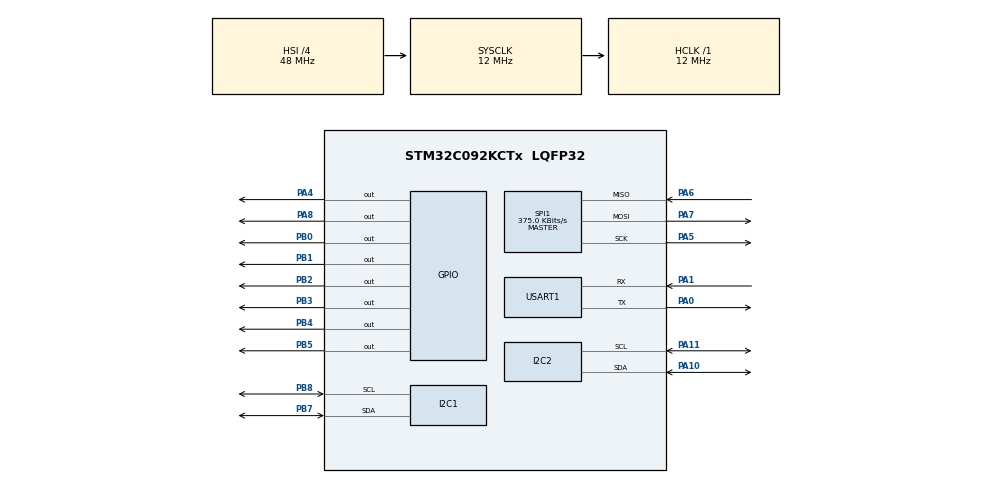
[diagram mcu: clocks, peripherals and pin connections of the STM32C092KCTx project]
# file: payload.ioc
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I2C1.Timing=0x00402D41
I2C2.Timing=0x00402D41
Mcu.Family=STM32C0
Mcu.Name=STM32C092KCTx
Mcu.Package=LQFP32
PA0.Mode=Asynchronous
PA0.Signal=USART1_TX
PA1.Mode=Asynchronous
PA1.Signal=USART1_RX
PA10.Mode=I2C
PA10.Signal=I2C2_SDA
PA11\ [PA9].Mode=I2C
PA11\ [PA9].Signal=I2C2_SCL
PA4.PinState=GPIO_PIN_SET
PA4.Signal=GPIO_Output
PA5.Mode=Full_Duplex_Master
PA5.Signal=SPI1_SCK
PA6.Mode=Full_Duplex_Master
PA6.Signal=SPI1_MISO
PA7.Mode=Full_Duplex_Master
PA7.Signal=SPI1_MOSI
PA8.PinState=GPIO_PIN_SET
PA8.Signal=GPIO_Output
PB0.Signal=GPIO_Output
PB1.Signal=GPIO_Output
PB2.Signal=GPIO_Output
PB3.PinState=GPIO_PIN_SET
PB3.Signal=GPIO_Output
PB4.PinState=GPIO_PIN_SET
PB4.Signal=GPIO_Output
PB5.Signal=GPIO_Output
PB7.Mode=I2C
PB7.Signal=I2C1_SDA
PB8.Mode=I2C
PB8.Signal=I2C1_SCL
ProjectManager.HeapSize=0x200
ProjectManager.StackSize=0x400
ProjectManager.TargetToolchain=STM32CubeIDE
RCC.ADCFreq_Value=12000000
RCC.AHBFreq_Value=12000000
RCC.CortexFreq_Value=12000000
RCC.EXTERNAL_CLOCK_VALUE=12288000
RCC.HCLKFreq_Value=12000000
RCC.HSE_VALUE=8000000
RCC.HSI_VALUE=48000000
RCC.LSE_VALUE=32768
RCC.SYSCLKFreq_VALUE=12000000
SPI1.BaudRatePrescaler=SPI_BAUDRATEPRESCALER_32
SPI1.CalculateBaudRate=375.0 KBits/s
SPI1.DataSize=SPI_DATASIZE_8BIT
SPI1.Direction=SPI_DIRECTION_2LINES
SPI1.Mode=SPI_MODE_MASTER
SPI1.NSSPMode=SPI_NSS_PULSE_DISABLE
SPI1.VirtualType=VM_MASTER
USART1.VirtualMode-Asynchronous=VM_ASYNC
board=custom

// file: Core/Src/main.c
/* USER CODE BEGIN Header */
/**
  ******************************************************************************
  * @file           : main.c
  * @brief          : Main program body
  ******************************************************************************
  * @attention
  *
  * Copyright (c) 2026 STMicroelectronics.
  * All rights reserved.
  *
  * This software is licensed under terms that can be found in the LICENSE file
  * in the root directory of this software component.
  * If no LICENSE file comes with this software, it is provided AS-IS.
  *
  ******************************************************************************
  */
/* USER CODE END Header */
#include "main.h"

/* USER CODE BEGIN Includes */
#include "flash/flash_helpers.h"
#include "flash/flash_dump.h"
#include <string.h>

/* USER CODE END Includes */

/* USER CODE BEGIN PTD */
typedef struct {
  I2C_HandleTypeDef *hi2c;
  uint16_t C[8];          // kalibratiecoëfficiënten C0..C6 (C7 = 0, voor de CRC)
  uint8_t  crc_ok;
  uint8_t  ver;           // versiecode uit C0
  uint8_t  is_02ba;       // 1 = 02BA, 0 = 30BA
  HAL_StatusTypeDef st;
  int32_t  temp;          // 0,01 °C
  int32_t  pres;          // Pa
} MS5837_t;
/* USER CODE END PTD */

/* USER CODE BEGIN PD */
#define LAUNCH_THR      2943   // drempel in 0,01 m/s² (3 g = 3 × 981)
#define LAUNCH_MS  100    // zo lang moet de versnelling boven de drempel blijven (ms)
#define MS5837_ADDR  (0x76 << 1)
#define FLASH_CS_LOW()   HAL_GPIO_WritePin(GPIOA, GPIO_PIN_4, GPIO_PIN_RESET)
#define FLASH_CS_HIGH()  HAL_GPIO_WritePin(GPIOA, GPIO_PIN_4, GPIO_PIN_SET)
#define RUN_FLASH_READBACK_TEST  1   // readout tester bij het opstarten (raakt de vluchtdata niet)
#define ERASE_FLASH_ON_BOOT      0   // 1 = wist de VOLLEDIGE flash bij elke start (80-400 s). Alleen eenmalig vóór de vlucht!

// WERKING: vanaf het inschakelen camera aan + elke 50 ms loggen naar de flash
// (+ live naar de XIAO voor de SD-kaart). De lanceerdetectie zet ENKEL LED2 aan
// en onthoudt launch_time; ze start of stopt niets.
#define CAM_START_DELAY_MS       5000UL  // eerst de XIAO laten opstarten (camera + SD) voor START
#define CAM_RETRY_MS            10000UL  // START opnieuw proberen zolang de camera niet bevestigde (vóór de lancering)
#define LIVE_TO_XIAO                1    // 1 = elke meting ook live via UART naar de XIAO (CSV op de SD)

// HERSTELMODUS na de vlucht: 1 = bij het opstarten de volledige flash naar de XIAO sturen
// (zelfde dump als vroeger), daarna niets meer doen. Niet loggen, geen camera.
// LED2 aan = dump gelukt, LED2 snel knipperend = dump mislukt.  !! op 0 voor de vlucht !!
#define DUMP_ON_BOOT                0
/* USER CODE END PD */

I2C_HandleTypeDef hi2c1;
I2C_HandleTypeDef hi2c2;

SPI_HandleTypeDef hspi1;

UART_HandleTypeDef huart1;

/* USER CODE BEGIN PV */
volatile uint8_t bno_id = 0;
volatile HAL_StatusTypeDef st_id;
volatile uint8_t acc_cfg = 0;
volatile int16_t acc_x, acc_y, acc_z;   // eenheid: 0,01 m/s²
volatile HAL_StatusTypeDef st_acc;
uint8_t rx_buf[8];
volatile HAL_StatusTypeDef st_tx, st_rx;
volatile uint8_t launched = 0;
volatile uint8_t high_count = 0;
volatile uint8_t ack_ok = 0;
MS5837_t ps1 = { .hi2c = &hi2c1 };   // tanksensor op bus 1
MS5837_t ps2 = { .hi2c = &hi2c2 };   // tanksensor op bus 2
uint32_t t_acc = 0, t_pres = 0, above_since = 0;
// Diagnose LED1: welke sensorcontrole faalt (bitmasker, zie leds_update)
volatile uint8_t sens_fault = 0, sens_fault_seen = 0;
uint32_t t_retry = 0;
// Busherstel: aantal mislukte transfers na elkaar (zie 2c in de hoofdlus)
uint8_t i2c1_fail = 0, ps2_fail = 0;
volatile uint16_t i2c1_recoveries = 0, i2c2_recoveries = 0;
uint8_t flash_id[3];
volatile HAL_StatusTypeDef st_flash;
const CS_Pin_t flash_cs = { GPIOA, GPIO_PIN_4 };   // W25Q256JV /CS op PA4
volatile HAL_StatusTypeDef st_log_init, st_log;
volatile uint8_t flash_test_ok = 0;
volatile HAL_StatusTypeDef st_dump = HAL_BUSY;   // alleen in herstelmodus (DUMP_ON_BOOT)
volatile uint32_t dump_records = 0;
volatile uint32_t launch_time = 0;                // ms sinds opstarten, 0 = geen lancering gezien
volatile uint8_t  cam_attempts = 0;               // aantal START-pogingen
uint32_t t_cam = 0;
volatile HAL_StatusTypeDef st_live = HAL_OK;      // laatste live-zending naar de XIAO
/* USER CODE END PV */

void SystemClock_Config(void);
static void MX_GPIO_Init(void);
static void MX_I2C1_Init(void);
static void MX_USART1_UART_Init(void);
static void MX_I2C2_Init(void);
static void MX_SPI1_Init(void);

/* USER CODE BEGIN 0 */
static uint8_t ms5837_crc4(const uint16_t *prom)
{
  uint16_t n[8];
  for (int i = 0; i < 8; i++) n[i] = prom[i];
  n[0] &= 0x0FFF;
  n[7] = 0;
  uint16_t rem = 0;
  for (int i = 0; i < 16; i++) {
    if (i % 2) rem ^= (n[i >> 1] & 0x00FF);
    else       rem ^= (n[i >> 1] >> 8);
    for (int b = 8; b > 0; b--) {
      if (rem & 0x8000) rem = (rem << 1) ^ 0x3000;
      else              rem = (rem << 1);
    }
  }
  return (rem >> 12) & 0x000F;
}

static HAL_StatusTypeDef ms5837_cmd(MS5837_t *s, uint8_t cmd)
{
  return HAL_I2C_Master_Transmit(s->hi2c, MS5837_ADDR, &cmd, 1, 100);
}

static void ms5837_init(MS5837_t *s)
{
  s->st = ms5837_cmd(s, 0x1E);          // reset
  HAL_Delay(10);
  for (int i = 0; i < 7 && s->st == HAL_OK; i++) {
    uint8_t buf[2] = {0};
    s->st = ms5837_cmd(s, 0xA0 + 2 * i);  // PROM-woord i
    if (s->st == HAL_OK)
      s->st = HAL_I2C_Master_Receive(s->hi2c, MS5837_ADDR, buf, 2, 100);
    s->C[i] = (buf[0] << 8) | buf[1];
  }
  s->C[7] = 0;
  s->crc_ok = (s->st == HAL_OK) && ((s->C[0] >> 12) == ms5837_crc4(s->C));
  s->ver = (s->C[0] >> 5) & 0x7F;
  s->is_02ba = 0;   // versiecode = 0, maar metingen tonen 30BA-gedrag
}
static HAL_StatusTypeDef ms5837_read_adc(MS5837_t *s, uint8_t conv_cmd, uint32_t *out)
{
  HAL_StatusTypeDef st = ms5837_cmd(s, conv_cmd);   // conversie starten
  if (st != HAL_OK) return st;
  HAL_Delay(3);                                     // OSR 1024: max 2,28 ms
  st = ms5837_cmd(s, 0x00);                         // ADC uitlezen
  if (st != HAL_OK) return st;
  uint8_t b[3] = {0};
  st = HAL_I2C_Master_Receive(s->hi2c, MS5837_ADDR, b, 3, 100);
  *out = ((uint32_t)b[0] << 16) | ((uint32_t)b[1] << 8) | b[2];
  return st;
}

static void ms5837_measure(MS5837_t *s)
{
  uint32_t D1 = 0, D2 = 0;
  s->st = ms5837_read_adc(s, 0x44, &D1);                       // druk, OSR 1024
  if (s->st == HAL_OK) s->st = ms5837_read_adc(s, 0x54, &D2);  // temperatuur, OSR 1024
  if (s->st != HAL_OK) return;

  int32_t dT   = (int32_t)D2 - ((int32_t)s->C[5] << 8);
  int32_t TEMP = 2000 + (int32_t)(((int64_t)dT * s->C[6]) >> 23);
  int64_t OFF, SENS, Ti = 0, OFFi = 0, SENSi = 0;
  int64_t t = TEMP - 2000;

  if (s->is_02ba) {
    OFF  = ((int64_t)s->C[2] << 17) + (((int64_t)s->C[4] * dT) >> 6);
    SENS = ((int64_t)s->C[1] << 16) + (((int64_t)s->C[3] * dT) >> 7);
    if (TEMP < 2000) {
      Ti    = (11LL * dT * dT) >> 35;
      OFFi  = (31 * t * t) >> 3;
      SENSi = (63 * t * t) >> 5;
    }
  } else {
    OFF  = ((int64_t)s->C[2] << 16) + (((int64_t)s->C[4] * dT) >> 7);
    SENS = ((int64_t)s->C[1] << 15) + (((int64_t)s->C[3] * dT) >> 8);
    if (TEMP < 2000) {
      Ti    = (3LL * dT * dT) >> 33;
      OFFi  = (3 * t * t) >> 1;
      SENSi = (5 * t * t) >> 3;
      if (TEMP < -1500) {
        int64_t u = TEMP + 1500;
        OFFi  += 7 * u * u;
        SENSi += 4 * u * u;
      }
    } else {
      Ti    = (2LL * dT * dT) >> 37;
      OFFi  = (t * t) >> 4;
    }
  }

  OFF  -= OFFi;
  SENS -= SENSi;
  s->temp = TEMP - (int32_t)Ti;                                    // 0,01 °C

  int64_t P = ((((int64_t)D1 * SENS) >> 21) - OFF);
  if (s->is_02ba) s->pres = (int32_t)(P >> 15);                    // Pa
  else            s->pres = (int32_t)(P >> 13) * 10;               // 0,1 mbar → Pa
}
// BNO055: chip-ID controleren en instellen op 16 g, ACCONLY-modus.
// Wordt bij het opstarten aangeroepen en opnieuw (vóór de lancering) als het mislukte.
// Vastgelopen I2C-bus vrijmaken: I2C uit, 9 klokpulsen op SCL (een slave die SDA vasthoudt
// laat dan los), een STOP-conditie, en daarna de I2C-module opnieuw initialiseren.
static void i2c_delay(void)
{
  for (volatile int d = 0; d < 20; d++) { }
}

static void i2c_bus_recover(I2C_HandleTypeDef *hi2c,
                            GPIO_TypeDef *sda_port, uint16_t sda_pin,
                            GPIO_TypeDef *scl_port, uint16_t scl_pin)
{
  HAL_I2C_DeInit(hi2c);                          // pinnen terug naar GPIO

  GPIO_InitTypeDef g = {0};
  g.Mode  = GPIO_MODE_OUTPUT_OD;
  g.Pull  = GPIO_NOPULL;
  g.Speed = GPIO_SPEED_FREQ_LOW;
  HAL_GPIO_WritePin(sda_port, sda_pin, GPIO_PIN_SET);
  HAL_GPIO_WritePin(scl_port, scl_pin, GPIO_PIN_SET);
  g.Pin = sda_pin; HAL_GPIO_Init(sda_port, &g);
  g.Pin = scl_pin; HAL_GPIO_Init(scl_port, &g);
  i2c_delay();

  for (int i = 0; i < 9; i++) {
    HAL_GPIO_WritePin(scl_port, scl_pin, GPIO_PIN_RESET); i2c_delay();
    HAL_GPIO_WritePin(scl_port, scl_pin, GPIO_PIN_SET);   i2c_delay();
  }
  // STOP: SDA laag -> hoog terwijl SCL hoog is
  HAL_GPIO_WritePin(sda_port, sda_pin, GPIO_PIN_RESET); i2c_delay();
  HAL_GPIO_WritePin(scl_port, scl_pin, GPIO_PIN_SET);   i2c_delay();
  HAL_GPIO_WritePin(sda_port, sda_pin, GPIO_PIN_SET);   i2c_delay();

  if (hi2c->Instance == I2C1) MX_I2C1_Init();    // zet de pinnen terug als I2C
  else                        MX_I2C2_Init();
}

static void bno055_init(void)
{
  // Chip-ID controleren (moet 0xA0 zijn)
  uint8_t id = 0;
  for (int i = 0; i < 5; i++) {
      st_id = HAL_I2C_Mem_Read(&hi2c1, 0x28 << 1, 0x00, I2C_MEMADD_SIZE_8BIT, &id, 1, 100);
      if (st_id == HAL_OK) break;
      HAL_Delay(10);
  }
  bno_id = id;
  if (id != 0xA0) return;   // niet gevonden: later opnieuw proberen

  // Versnellingsmeter instellen: 16 g, ACCONLY-modus
  uint8_t v;
  v = 0x00; HAL_I2C_Mem_Write(&hi2c1, 0x28 << 1, 0x3D, I2C_MEMADD_SIZE_8BIT, &v, 1, 100);  // CONFIG-modus
  HAL_Delay(25);
  v = 0x01; HAL_I2C_Mem_Write(&hi2c1, 0x28 << 1, 0x07, I2C_MEMADD_SIZE_8BIT, &v, 1, 100);  // page 1
  v = 0x0F; HAL_I2C_Mem_Write(&hi2c1, 0x28 << 1, 0x08, I2C_MEMADD_SIZE_8BIT, &v, 1, 100);  // 16 g, 62,5 Hz
  HAL_I2C_Mem_Read(&hi2c1, 0x28 << 1, 0x08, I2C_MEMADD_SIZE_8BIT, &v, 1, 100);             // terug lezen
  acc_cfg = v;
  v = 0x00; HAL_I2C_Mem_Write(&hi2c1, 0x28 << 1, 0x07, I2C_MEMADD_SIZE_8BIT, &v, 1, 100);  // page 0
  v = 0x01; HAL_I2C_Mem_Write(&hi2c1, 0x28 << 1, 0x3D, I2C_MEMADD_SIZE_8BIT, &v, 1, 100);  // ACCONLY
  HAL_Delay(20);
}

static void led_set(uint16_t pin, int on)
{
  HAL_GPIO_WritePin(GPIOB, pin, on ? GPIO_PIN_SET : GPIO_PIN_RESET);
}

static void leds_update(uint32_t now)
{
  // LED0: hartslag
  led_set(GPIO_PIN_0, (now / 500) % 2);

  // LED1: sensoren in orde -> aan, anders snel knipperen
  // sens_fault toont welke controle faalt; sens_fault_seen onthoudt ook korte fouten
  uint8_t f = 0;
  if (bno_id != 0xA0)    f |= 0x01;   // BNO055 niet herkend (chip-ID)
  if (st_acc != HAL_OK)  f |= 0x02;   // versnelling lezen faalt
  if (!ps1.crc_ok)       f |= 0x04;   // MS5837 bus 1: kalibratie (PROM/CRC) mislukt
  if (!ps2.crc_ok)       f |= 0x08;   // MS5837 bus 2: kalibratie (PROM/CRC) mislukt
  if (ps1.st != HAL_OK)  f |= 0x10;   // MS5837 bus 1: meting faalt
  if (ps2.st != HAL_OK)  f |= 0x20;   // MS5837 bus 2: meting faalt
  sens_fault = f;
  sens_fault_seen |= f;
  led_set(GPIO_PIN_1, f == 0 ? 1 : (now / 100) % 2);

  // LED2: aan = lancering gedetecteerd.
  //       Vóór de lancering snel knipperen = camera heeft START (nog) niet bevestigd.
  if (launched)                         led_set(GPIO_PIN_2, 1);
  else if (cam_attempts > 0 && !ack_ok) led_set(GPIO_PIN_2, (now / 100) % 2);
  else                                  led_set(GPIO_PIN_2, 0);
}
// Wacht op een tekstregel van de XIAO die 'needle' bevat (bv. "OK START")
static uint8_t uart_wait_line(const char *needle, uint32_t timeout_ms)
{
  char line[24];
  uint8_t n = 0;
  uint32_t t0 = HAL_GetTick();
  while (HAL_GetTick() - t0 < timeout_ms) {
    uint8_t c;
    if (HAL_UART_Receive(&huart1, &c, 1, 5) != HAL_OK) continue;
    if (c == '\r') continue;
    if (c == '\n') {
      line[n] = '\0';
      if (strstr(line, needle)) return 1;
      n = 0;
    } else if (n < sizeof(line) - 1) {
      line[n++] = (char)c;
    }
  }
  return 0;
}

// Camera starten: START sturen en wachten op "OK START" (max. tries x ~400 ms)
static void camera_start(int tries)
{
  const char msg[] = "START\n";
  for (int i = 0; i < tries && !ack_ok; i++) {
    __HAL_UART_CLEAR_FLAG(&huart1, UART_CLEAR_OREF | UART_CLEAR_NEF | UART_CLEAR_FEF);
    __HAL_UART_SEND_REQ(&huart1, UART_RXDATA_FLUSH_REQUEST);   // oude "READY" e.d. weggooien
    HAL_UART_Transmit(&huart1, (uint8_t *)msg, sizeof(msg) - 1, 100);
    if (uart_wait_line("OK START", 300)) ack_ok = 1;
  }
}
static HAL_StatusTypeDef flash_read_id(uint8_t *id)
{
  uint8_t cmd = 0x9F;                       // JEDEC ID
  FLASH_CS_LOW();
  HAL_StatusTypeDef st = HAL_SPI_Transmit(&hspi1, &cmd, 1, 100);
  if (st == HAL_OK) st = HAL_SPI_Receive(&hspi1, id, 3, 100);
  FLASH_CS_HIGH();
  return st;
}
/* USER CODE END 0 */

int main(void)
{

  /* MCU Configuration--------------------------------------------------------*/

  /* Reset of all peripherals, Initializes the Flash interface and the Systick. */
  HAL_Init();

  /* Configure the system clock */
  SystemClock_Config();

  /* Initialize all configured peripherals */
  MX_GPIO_Init();
  MX_I2C1_Init();
  MX_USART1_UART_Init();
  MX_I2C2_Init();
  MX_SPI1_Init();
  /* USER CODE BEGIN 2 */
  // Opstartanimatie (~0,7 s) + wachttijd: samen ruim de 650 ms die de BNO055 nodig heeft
  for (int r = 0; r < 3; r++) {
    for (int i = 0; i < 3; i++) {
      led_set(GPIO_PIN_0 << i, 1);
      HAL_Delay(80);
      led_set(GPIO_PIN_0 << i, 0);
    }
  }
  HAL_Delay(300);

  bno055_init();   // chip-ID + 16 g ACCONLY (zie USER CODE 0)

  ms5837_init(&ps1);
  ms5837_init(&ps2);
  HAL_GPIO_WritePin(GPIOA, GPIO_PIN_8, GPIO_PIN_SET);   // /RESET van de flash hoog
  HAL_Delay(1);
  st_flash = flash_read_id(flash_id);

#if ERASE_FLASH_ON_BOOT
  st_flash = W25Q_ChipErase(&flash_cs);        // blokkeert tot de chip leeg is
#endif
#if RUN_FLASH_READBACK_TEST
  flash_test_ok = FlashLogger_TestReadBack(&flash_cs);
#endif
  st_log_init = FlashLogger_Init(&flash_cs);   // gaat verder na de laatst beschreven pagina

#if DUMP_ON_BOOT
  // Herstelmodus: volledige flash naar de XIAO (CSV op de SD), daarna stoppen.
  HAL_Delay(CAM_START_DELAY_MS);               // XIAO laten opstarten
  {
    uint32_t n = 0;
    for (int i = 0; i < 3 && st_dump != HAL_OK; i++)
      st_dump = FlashDump_SendAll(&huart1, &flash_cs, &n);
    dump_records = n;
  }
  while (1) {
    uint32_t t = HAL_GetTick();
    led_set(GPIO_PIN_0, (t / 500) % 2);
    led_set(GPIO_PIN_1, 0);
    led_set(GPIO_PIN_2, st_dump == HAL_OK ? 1 : (t / 100) % 2);
  }
#endif
  /* USER CODE END 2 */

  /* Infinite loop */
  while (1)
  {

    /* USER CODE BEGIN 3 */
	    uint32_t now = HAL_GetTick();

	    // 1. Versnelling en lanceerdetectie, elke 10 ms
	    if (now - t_acc >= 10) {
	      t_acc = now;
	      uint8_t a[6];
	      st_acc = HAL_I2C_Mem_Read(&hi2c1, 0x28 << 1, 0x08, I2C_MEMADD_SIZE_8BIT, a, 6, 100);
	      if (st_acc == HAL_OK) i2c1_fail = 0;
	      else if (i2c1_fail < 255) i2c1_fail++;
	      if (st_acc == HAL_OK) {
	        acc_x = (int16_t)((a[1] << 8) | a[0]);
	        acc_y = (int16_t)((a[3] << 8) | a[2]);
	        acc_z = (int16_t)((a[5] << 8) | a[4]);

	        uint32_t mag2 = (uint32_t)((int32_t)acc_x * acc_x)
	                      + (uint32_t)((int32_t)acc_y * acc_y)
	                      + (uint32_t)((int32_t)acc_z * acc_z);

	        // Lanceerdetectie: |a| > 3 g gedurende 100 ms -> enkel LED2 + launch_time
	        if (!launched) {
	          uint32_t thr2 = (uint32_t)LAUNCH_THR * LAUNCH_THR;

	          if (mag2 > thr2) {
	            if (above_since == 0) above_since = now;
	            if (now - above_since >= LAUNCH_MS) {
	              launched = 1;
	              launch_time = now;
	            }
	          } else {
	            above_since = 0;
	          }
	        }
	      }
	    }

	    // 1b. Camera starten vanaf het inschakelen (los van de lanceerdetectie).
	    //     Eerste keer tot 10 pogingen (max. ~4 s, op het platform).
	    //     Daarna 1 poging per CAM_RETRY_MS, maar niet meer na een lancering
	    //     (blokkeert ~0,4 s en zou dan vluchtdata kosten).
	    if (!ack_ok && now >= CAM_START_DELAY_MS) {
	      if (cam_attempts == 0) {
	        camera_start(10);
	        cam_attempts = 1;
	        t_cam = HAL_GetTick();
	      } else if (!launched && now - t_cam >= CAM_RETRY_MS && cam_attempts < 255) {
	        camera_start(1);
	        cam_attempts++;
	        t_cam = HAL_GetTick();
	      }
	    }

	    // 2. Druk, elke 50 ms. Vanaf het inschakelen naar de flash (+ live naar de XIAO)
	    if (now - t_pres >= 50) {
	      t_pres = now;
	      ms5837_measure(&ps1);
	      ms5837_measure(&ps2);
	      if (ps2.st == HAL_OK) ps2_fail = 0;
	      else if (ps2_fail < 255) ps2_fail++;

	      // 2b. Eén record per druksensor
	      Flash_Payload rec1 = { .acc_x = acc_x, .acc_y = acc_y, .acc_z = acc_z };
	      Flash_Payload rec2 = rec1;
	      rec1.temp = ps1.temp; rec1.pres = ps1.pres;
	      rec2.temp = ps2.temp; rec2.pres = ps2.pres;
	      st_log = FlashLogger_LogPayload(&rec1, 1, now);
	      st_log = FlashLogger_LogPayload(&rec2, 2, now);
	      if (LIVE_TO_XIAO)
	        st_live = FlashDump_SendLive(&huart1, &rec1, &rec2, now);
	    }

	    // 2c. Herstel, max. 1x per seconde:
	    //     - bus vastgelopen (5x na elkaar BNO055 niet gelezen = 50 ms, of 3x MS5837 bus 2)
	    //       -> bus vrijmaken + sensoren op die bus opnieuw initialiseren
	    //     - losse sensor die niet antwoordt -> alleen die sensor opnieuw initialiseren
	    if (now - t_retry >= 1000) {
	      t_retry = now;
	      if (i2c1_fail >= 5) {
	        i2c_bus_recover(&hi2c1, GPIOB, GPIO_PIN_7, GPIOB, GPIO_PIN_8);    // SDA PB7, SCL PB8
	        i2c1_recoveries++;
	        bno055_init();
	        ms5837_init(&ps1);
	        i2c1_fail = 0;
	      } else {
	        if (bno_id != 0xA0)                   bno055_init();
	        if (!ps1.crc_ok || ps1.st != HAL_OK)  ms5837_init(&ps1);
	      }
	      if (ps2_fail >= 3) {
	        i2c_bus_recover(&hi2c2, GPIOA, GPIO_PIN_10, GPIOA, GPIO_PIN_11);  // SDA PA10, SCL PA11
	        i2c2_recoveries++;
	        ms5837_init(&ps2);
	        ps2_fail = 0;
	      } else if (!ps2.crc_ok) {
	        ms5837_init(&ps2);
	      }
	    }

	    // 3. LED's bijwerken
	    leds_update(now);
	  }
  /* USER CODE END 3 */
}

void SystemClock_Config(void)
{
  RCC_OscInitTypeDef RCC_OscInitStruct = {0};
  RCC_ClkInitTypeDef RCC_ClkInitStruct = {0};

  __HAL_FLASH_SET_LATENCY(FLASH_LATENCY_0);

  /** Initializes the RCC Oscillators according to the specified parameters
  * in the RCC_OscInitTypeDef structure.
  */
  RCC_OscInitStruct.OscillatorType = RCC_OSCILLATORTYPE_HSI;
  RCC_OscInitStruct.HSIState = RCC_HSI_ON;
  RCC_OscInitStruct.HSIDiv = RCC_HSI_DIV4;
  RCC_OscInitStruct.HSICalibrationValue = RCC_HSICALIBRATION_DEFAULT;
  if (HAL_RCC_OscConfig(&RCC_OscInitStruct) != HAL_OK)
  {
    Error_Handler();
  }

  /** Initializes the CPU, AHB and APB buses clocks
  */
  RCC_ClkInitStruct.ClockType = RCC_CLOCKTYPE_HCLK|RCC_CLOCKTYPE_SYSCLK
                              |RCC_CLOCKTYPE_PCLK1;
  RCC_ClkInitStruct.SYSCLKSource = RCC_SYSCLKSOURCE_HSI;
  RCC_ClkInitStruct.SYSCLKDivider = RCC_SYSCLK_DIV1;
  RCC_ClkInitStruct.AHBCLKDivider = RCC_HCLK_DIV1;
  RCC_ClkInitStruct.APB1CLKDivider = RCC_APB1_DIV1;

  if (HAL_RCC_ClockConfig(&RCC_ClkInitStruct, FLASH_LATENCY_0) != HAL_OK)
  {
    Error_Handler();
  }
}

static void MX_I2C1_Init(void)
{

  hi2c1.Instance = I2C1;
  hi2c1.Init.Timing = 0x00402D41;
  hi2c1.Init.OwnAddress1 = 0;
  hi2c1.Init.AddressingMode = I2C_ADDRESSINGMODE_7BIT;
  hi2c1.Init.DualAddressMode = I2C_DUALADDRESS_DISABLE;
  hi2c1.Init.OwnAddress2 = 0;
  hi2c1.Init.OwnAddress2Masks = I2C_OA2_NOMASK;
  hi2c1.Init.GeneralCallMode = I2C_GENERALCALL_DISABLE;
  hi2c1.Init.NoStretchMode = I2C_NOSTRETCH_DISABLE;
  if (HAL_I2C_Init(&hi2c1) != HAL_OK)
  {
    Error_Handler();
  }

  /** Configure Analogue filter
  */
  if (HAL_I2CEx_ConfigAnalogFilter(&hi2c1, I2C_ANALOGFILTER_ENABLE) != HAL_OK)
  {
    Error_Handler();
  }

  /** Configure Digital filter
  */
  if (HAL_I2CEx_ConfigDigitalFilter(&hi2c1, 0) != HAL_OK)
  {
    Error_Handler();
  }

}

static void MX_I2C2_Init(void)
{

  hi2c2.Instance = I2C2;
  hi2c2.Init.Timing = 0x00402D41;
  hi2c2.Init.OwnAddress1 = 0;
  hi2c2.Init.AddressingMode = I2C_ADDRESSINGMODE_7BIT;
  hi2c2.Init.DualAddressMode = I2C_DUALADDRESS_DISABLE;
  hi2c2.Init.OwnAddress2 = 0;
  hi2c2.Init.OwnAddress2Masks = I2C_OA2_NOMASK;
  hi2c2.Init.GeneralCallMode = I2C_GENERALCALL_DISABLE;
  hi2c2.Init.NoStretchMode = I2C_NOSTRETCH_DISABLE;
  if (HAL_I2C_Init(&hi2c2) != HAL_OK)
  {
    Error_Handler();
  }

  /** Configure Analogue filter
  */
  if (HAL_I2CEx_ConfigAnalogFilter(&hi2c2, I2C_ANALOGFILTER_ENABLE) != HAL_OK)
  {
    Error_Handler();
  }

  /** Configure Digital filter
  */
  if (HAL_I2CEx_ConfigDigitalFilter(&hi2c2, 0) != HAL_OK)
  {
    Error_Handler();
  }

}

static void MX_SPI1_Init(void)
{

  /* SPI1 parameter configuration*/
  hspi1.Instance = SPI1;
  hspi1.Init.Mode = SPI_MODE_MASTER;
  hspi1.Init.Direction = SPI_DIRECTION_2LINES;
  hspi1.Init.DataSize = SPI_DATASIZE_8BIT;
  hspi1.Init.CLKPolarity = SPI_POLARITY_LOW;
  hspi1.Init.CLKPhase = SPI_PHASE_1EDGE;
  hspi1.Init.NSS = SPI_NSS_SOFT;
  hspi1.Init.BaudRatePrescaler = SPI_BAUDRATEPRESCALER_32;
  hspi1.Init.FirstBit = SPI_FIRSTBIT_MSB;
  hspi1.Init.TIMode = SPI_TIMODE_DISABLE;
  hspi1.Init.CRCCalculation = SPI_CRCCALCULATION_DISABLE;
  hspi1.Init.CRCPolynomial = 7;
  hspi1.Init.CRCLength = SPI_CRC_LENGTH_DATASIZE;
  hspi1.Init.NSSPMode = SPI_NSS_PULSE_DISABLE;
  if (HAL_SPI_Init(&hspi1) != HAL_OK)
  {
    Error_Handler();
  }

}

static void MX_USART1_UART_Init(void)
{

  huart1.Instance = USART1;
  huart1.Init.BaudRate = 115200;
  huart1.Init.WordLength = UART_WORDLENGTH_8B;
  huart1.Init.StopBits = UART_STOPBITS_1;
  huart1.Init.Parity = UART_PARITY_NONE;
  huart1.Init.Mode = UART_MODE_TX_RX;
  huart1.Init.HwFlowCtl = UART_HWCONTROL_NONE;
  huart1.Init.OverSampling = UART_OVERSAMPLING_16;
  huart1.Init.OneBitSampling = UART_ONE_BIT_SAMPLE_DISABLE;
  huart1.Init.ClockPrescaler = UART_PRESCALER_DIV1;
  huart1.AdvancedInit.AdvFeatureInit = UART_ADVFEATURE_NO_INIT;
  if (HAL_UART_Init(&huart1) != HAL_OK)
  {
    Error_Handler();
  }
  if (HAL_UARTEx_SetTxFifoThreshold(&huart1, UART_TXFIFO_THRESHOLD_1_8) != HAL_OK)
  {
    Error_Handler();
  }
  if (HAL_UARTEx_SetRxFifoThreshold(&huart1, UART_RXFIFO_THRESHOLD_1_8) != HAL_OK)
  {
    Error_Handler();
  }
  if (HAL_UARTEx_DisableFifoMode(&huart1) != HAL_OK)
  {
    Error_Handler();
  }

}

static void MX_GPIO_Init(void)
{
  GPIO_InitTypeDef GPIO_InitStruct = {0};

  /* GPIO Ports Clock Enable */
  __HAL_RCC_GPIOA_CLK_ENABLE();
  __HAL_RCC_GPIOB_CLK_ENABLE();

  /*Configure GPIO pin Output Level */
  HAL_GPIO_WritePin(GPIOA, GPIO_PIN_4|GPIO_PIN_8, GPIO_PIN_SET);

  /*Configure GPIO pin Output Level */
  HAL_GPIO_WritePin(GPIOB, GPIO_PIN_0|GPIO_PIN_1|GPIO_PIN_2|GPIO_PIN_5, GPIO_PIN_RESET);

  /*Configure GPIO pin Output Level */
  HAL_GPIO_WritePin(GPIOB, GPIO_PIN_3|GPIO_PIN_4, GPIO_PIN_SET);

  /*Configure GPIO pins : PA4 PA8 */
  GPIO_InitStruct.Pin = GPIO_PIN_4|GPIO_PIN_8;
  GPIO_InitStruct.Mode = GPIO_MODE_OUTPUT_PP;
  GPIO_InitStruct.Pull = GPIO_NOPULL;
  GPIO_InitStruct.Speed = GPIO_SPEED_FREQ_LOW;
  HAL_GPIO_Init(GPIOA, &GPIO_InitStruct);

  /*Configure GPIO pins : PB0 PB1 PB2 PB3
                           PB4 PB5 */
  GPIO_InitStruct.Pin = GPIO_PIN_0|GPIO_PIN_1|GPIO_PIN_2|GPIO_PIN_3
                          |GPIO_PIN_4|GPIO_PIN_5;
  GPIO_InitStruct.Mode = GPIO_MODE_OUTPUT_PP;
  GPIO_InitStruct.Pull = GPIO_NOPULL;
  GPIO_InitStruct.Speed = GPIO_SPEED_FREQ_LOW;
  HAL_GPIO_Init(GPIOB, &GPIO_InitStruct);

}

void Error_Handler(void)
{
  __disable_irq();
  while (1)
  {
  }
}
